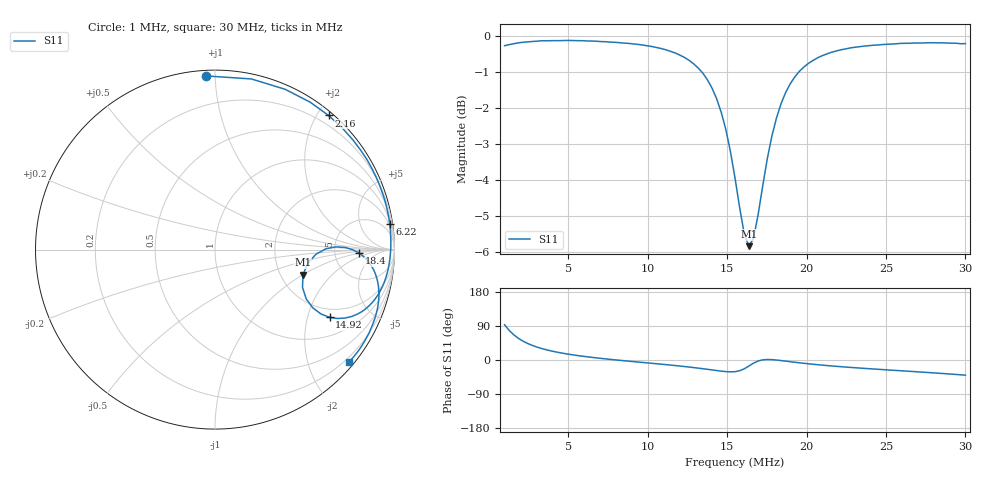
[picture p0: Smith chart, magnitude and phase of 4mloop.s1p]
! File created by NanoVNA MOD v3.0 by alex_m https://www.rtl-sdr.com/forum/viewtopic.php?f=4&t=4881
! Start 1000000Hz  Stop 30000000Hz  Points 101
# Hz S MA R 50
!S - Parameter data, F S11
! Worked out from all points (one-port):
!   101 points, 1 MHz to 30 MHz, reference 50 ohm
!   lowest |S11| = -5.8 dB at 16.37 MHz (marker M1), VSWR 3.08, Z = 132 - j50.2 ohm
!   |S11| at or under -10 dB: nowhere
!   S11 on the Smith chart (normalised r, x): 1 MHz: 0.03, +0.95; 2.16 MHz: 0.06, +2.16; 6.22 MHz: 2, +14; 14.92 MHz: 1.65, -2.76; 18.4 MHz: 9.12, -1.07; 30 MHz: 0.11, -2.74
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1000000  0.9688 92.9
1290000  0.9721 78.0
1580000  0.9749 66.4
1870000  0.9777 57.2
2160000  0.9794 49.7
2740000  0.9819 38.6
3320000  0.9842 30.4
3900000  0.9845 24.2
4770000  0.985 17.0
6220000  0.9834 8.3
8250000  0.9781 -0.8
1.028e7  0.9662 -8.8
1.202e7  0.9402 -15.9
1.347e7  0.8876 -23.0
1.434e7  0.818 -27.8
1.492e7  0.7413 -30.6
1.55e7  0.6344 -30.8
1.608e7  0.5307 -23.3
1.637e7  0.51 -16.0
1.695e7  0.5632 -2.6
1.724e7  0.6176 0.4
1.782e7  0.7253 1.0
1.84e7  0.8049 -1.5
1.927e7  0.8771 -6.0
2.072e7  0.9325 -12.5
2.275e7  0.9618 -19.5
2.652e7  0.9764 -29.9
3e7  0.9753 -40.0
